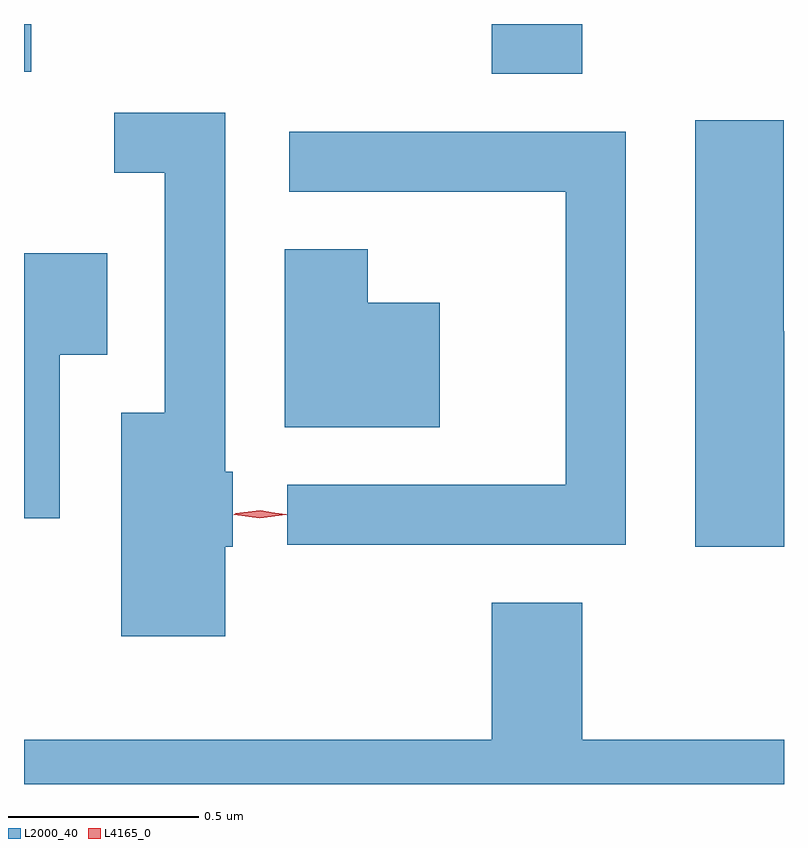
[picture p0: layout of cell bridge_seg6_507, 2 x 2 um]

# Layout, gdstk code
import gdstk
lib = gdstk.Library(unit=1e-6, precision=1e-09)
def R(c, l, rs):  # rectangles x0, y0, x1, y1
    for r in rs: c.add(gdstk.rectangle(r[:2], r[2:], *l))
def P(c, l, *ps):  # polygons
    for p in ps: c.add(gdstk.Polygon(p, *l))
L2000_40 = (2000, 40)
L4165_0 = (4165, 0)

bridge_seg6_507 = lib.new_cell('bridge_seg6_507')
R(bridge_seg6_507, L2000_40, [(784.896,1596.456,785.134,1596.587), (783.665,1596.461,783.684,1596.587)])
P(bridge_seg6_507, L2000_40, [(784.194,1595.211),(784.214,1595.211),(784.214,1595.409),(784.194,1595.409),(784.194,1596.354),(783.903,1596.354),(783.903,1596.196),(784.036,1596.196),(784.036,1595.564),(783.921,1595.564),(783.921,1594.976),(784.194,1594.976)],
  [(785.665,1595.779),(785.664,1595.779),(785.664,1596.334),(785.431,1596.334),(785.431,1595.211),(785.665,1595.211)],
  [(785.249,1596.304),(784.363,1596.304),(784.363,1596.146),(785.091,1596.146),(785.091,1595.374),(784.358,1595.374),(784.358,1595.216),(785.249,1595.216)],
  [(784.759,1595.854),(784.569,1595.854),(784.569,1595.994),(784.351,1595.994),(784.351,1595.526),(784.759,1595.526)],
  [(783.759,1595.716),(783.884,1595.716),(783.884,1595.984),(783.665,1595.984),(783.665,1595.286),(783.759,1595.286)],
  [(785.665,1594.704),(785.134,1594.704),(785.134,1595.064),(784.896,1595.064),(784.896,1594.704),(783.665,1594.704),(783.665,1594.587),(785.665,1594.587)])
P(bridge_seg6_507, L4165_0, [(784.286,1595.287),(784.222,1595.298),(784.221,1595.299),(784.222,1595.299),(784.287,1595.307),(784.352,1595.296),(784.352,1595.295),(784.352,1595.295)],
  [(784.286,1595.286),(784.218,1595.296),(784.217,1595.296),(784.218,1595.297),(784.286,1595.306),(784.355,1595.297),(784.356,1595.296),(784.355,1595.296)])

lib.write_gds('bridge_seg6_507.gds')
